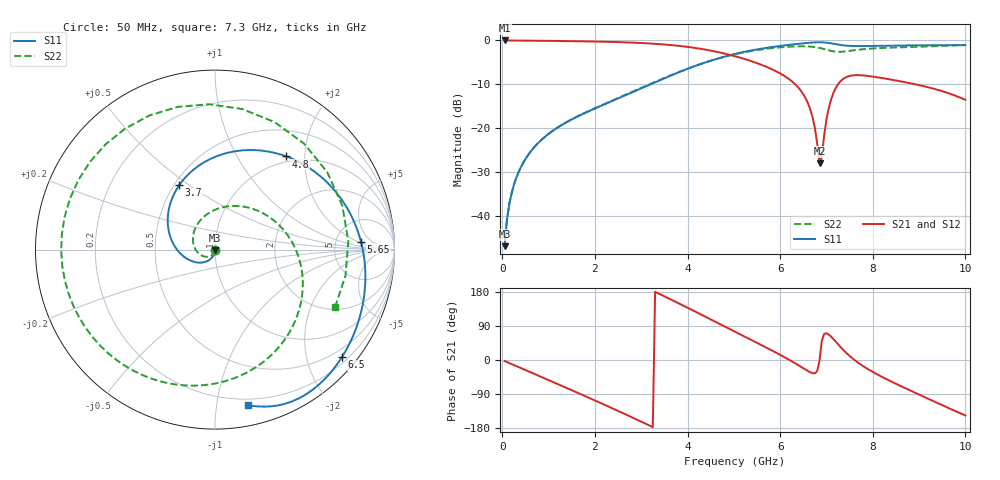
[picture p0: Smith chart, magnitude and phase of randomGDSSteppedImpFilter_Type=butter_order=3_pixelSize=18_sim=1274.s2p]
! freq	dB(S11)	phase(S11)	dB(S12)	phase(S12)
!  dB(S21)	phase(S21)	dB(S22)	phase(S22)
!S-par simulation data
#  GHz  S  DB  R 50
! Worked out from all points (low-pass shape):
!   200 points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, 50 MHz to 10 GHz, reference 50 ohm
!   highest |S21| = -0.01 dB at 50 MHz (marker M1); lowest = -28.0 dB at 6.85 GHz (marker M2)
!   |S21| within 3 dB of the highest: start of sweep to 4.805 GHz
!   lowest |S11| = -46.9 dB at 50 MHz (marker M3), VSWR 1.01, Z = 50 - j0.45 ohm
!   |S11| at or under -10 dB: start of sweep to 3.197 GHz
!   |S22| runs from -46.9 to -1.0 dB; largest |S21 - S12| = 0
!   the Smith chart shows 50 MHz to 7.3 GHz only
!   S11 on the Smith chart (normalised r, x): 50 MHz: 1.00, -0.01; 3.7 GHz: 0.53, +0.46; 4.8 GHz: 0.91, +1.64; 5.65 GHz: 9.15, +2.39; 6.5 GHz: 0.32, -2.69; 7.3 GHz: 0.15, -1.22
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0.05  -46.93 -92.0  -0.01 -2.7  -0.01 -2.7  -46.94 -93.5
0.2  -34.91 -97.8  -0.03 -10.7  -0.03 -10.7  -34.92 -104.0
0.5  -27.05 -109.4  -0.05 -26.5  -0.05 -26.5  -27.07 -125.0
1.75  -16.73 -154.3  -0.20 -93.1  -0.20 -93.1  -16.67 145.4
2.7  -12.31 169.5  -0.45 -145.5  -0.45 -145.5  -12.20 76.7
3.4  -9.07 135.7  -0.85 174.0  -0.85 174.0  -8.99 30.0
3.7  -7.73 119.1  -1.12 156.1  -1.12 156.1  -7.68 11.0
4.8  -3.69 52.5  -3.00 88.6  -3.00 88.6  -3.73 -57.1
5.05  -3.02 37.4  -3.67 73.1  -3.67 73.1  -3.10 -72.9
5.65  -1.78 3.1  -5.79 35.9  -5.79 35.9  -1.98 -113.1
6.1  -1.13 -20.5  -8.16 7.0  -8.16 7.0  -1.49 -148.8
6.5  -0.66 -40.3  -12.29 -21.7  -12.29 -21.7  -1.34 167.7
6.7  -0.48 -50.3  -17.53 -34.9  -17.53 -34.9  -1.45 136.2
6.85  -0.42 -58.0  -28.00 -1.5  -28.00 -1.5  -1.70 104.7
7.1  -0.66 -70.4  -13.47 61.7  -13.47 61.7  -2.39 34.6
7.3  -1.03 -78.0  -9.35 34.8  -9.35 34.8  -2.60 -25.5
7.45  -1.21 -82.5  -8.27 16.2  -8.27 16.2  -2.45 -62.8
7.65  -1.29 -88.2  -7.92 -4.1  -7.92 -4.1  -2.18 -100.4
8  -1.26 -98.4  -8.25 -31.5  -8.25 -31.5  -1.83 -146.4
8.35  -1.20 -108.9  -8.85 -53.8  -8.85 -53.8  -1.65 178.5
9.2  -1.11 -134.4  -10.70 -102.5  -10.70 -102.5  -1.37 103.7
10  -1.08 -159.4  -13.55 -146.4  -13.55 -146.4  -1.04 36.9
